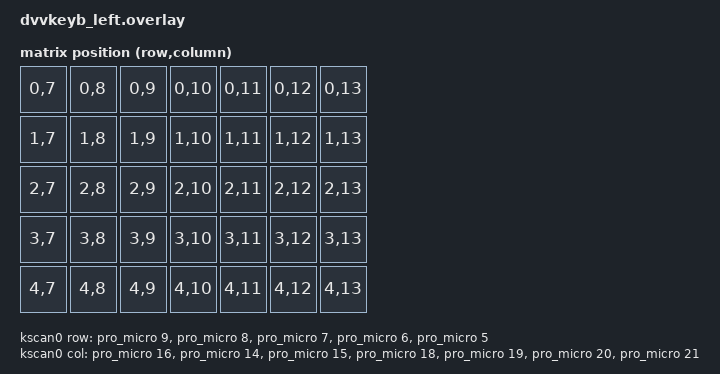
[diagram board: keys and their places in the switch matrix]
#include <dt-bindings/zmk/matrix_transform.h>
#include <physical_layouts.dtsi>

&pinctrl {
    i2c1_default: i2c1_default {
        group1 {
            psels = <NRF_PSEL(TWIM_SDA, 0, 20)>, <NRF_PSEL(TWIM_SCL, 0, 17)>;
        };
    };
    i2c1_sleep: i2c1_sleep {
        group1 {
            psels = <NRF_PSEL(TWIM_SDA, 0, 20)>, <NRF_PSEL(TWIM_SCL, 0, 17)>;
            low-power-enable;
        };
    };
};

&i2c0 {
    status = "okay";
    pinctrl-0 = <&i2c1_default>;
    pinctrl-1 = <&i2c1_sleep>;
    pinctrl-names = "default", "sleep";
    clock-frequency = <100000>;

    nice_view_oled: ssd1306@3c {
        compatible = "solomon,ssd1306fb";
        reg = <0x3c>;
        width = <128>;
        height = <32>;
        segment-offset = <0>;
        page-offset = <0>;
        display-offset = <0>;
        multiplex-ratio = <31>;
        segment-remap;
        com-invdir;
        com-sequential;
        inversion-on;
        prechargep = <0x22>;
    };
};

/ {

    chosen {
        zmk,kscan = &kscan0;
        zephyr,display = &nice_view_oled;
        zmk,physical-layout = &trans_left;
        zmk,matrix-transform = &trans_left;
    };
    trans_left: default_transform {
        compatible = "zmk,matrix-transform";
        columns = <7>;
        rows = <5>;
        map = <
            RC(0,7) RC(0,8) RC(0,9) RC(0,10) RC(0,11) RC(0,12) RC(0,13)
            RC(1,7) RC(1,8) RC(1,9) RC(1,10) RC(1,11) RC(1,12) RC(1,13)
            RC(2,7) RC(2,8) RC(2,9) RC(2,10) RC(2,11) RC(2,12) RC(2,13)
            RC(3,7) RC(3,8) RC(3,9) RC(3,10) RC(3,11) RC(3,12) RC(3,13)
            RC(4,7) RC(4,8) RC(4,9) RC(4,10) RC(4,11) RC(4,12) RC(4,13)
        >;
    };
    kscan0: kscan {
        compatible = "zmk,kscan-gpio-matrix";
        diode-direction = "col2row";
        wakeup-source;

        /* 5 рядов: D5–D9 => P0.24, P1.00, P0.11, P1.04, P1.06 */
        row-gpios = 
            <&pro_micro 9 (GPIO_ACTIVE_HIGH | GPIO_PULL_DOWN)>,  // D5
            <&pro_micro 8 (GPIO_ACTIVE_HIGH | GPIO_PULL_DOWN)>,  // D6
            <&pro_micro 7 (GPIO_ACTIVE_HIGH | GPIO_PULL_DOWN)>,  // D7
            <&pro_micro 6 (GPIO_ACTIVE_HIGH | GPIO_PULL_DOWN)>,  // освободил место под экранчик
            <&pro_micro 5 (GPIO_ACTIVE_HIGH | GPIO_PULL_DOWN)>;  // освободил место под экранчик

        /* 7 столбцов: D10, D16, D14, D15, D18, D19, D20 */
        col-gpios = 
            <&pro_micro 16 GPIO_ACTIVE_HIGH>,  // D16 - столбец 2 (Q)
            <&pro_micro 14 GPIO_ACTIVE_HIGH>,  // D14 - столбец 3 (W)
            <&pro_micro 15 GPIO_ACTIVE_HIGH>,  // D10 - столбец 4 (E)
            <&pro_micro 18 GPIO_ACTIVE_HIGH>,  // D18 - столбец 5 (R)
            <&pro_micro 19 GPIO_ACTIVE_HIGH>,  // D19 - столбец 6 (T)
            <&pro_micro 20 GPIO_ACTIVE_HIGH>,  // D20 - столбец 7 (пустой)
            <&pro_micro 21 GPIO_ACTIVE_HIGH>;  // D21 - столбец 7 (пустой)
    
    };
    zmk_config: zmk-config {
        compatible = "zmk,config";
        split-role = "left";  // или "right"
    };
};
